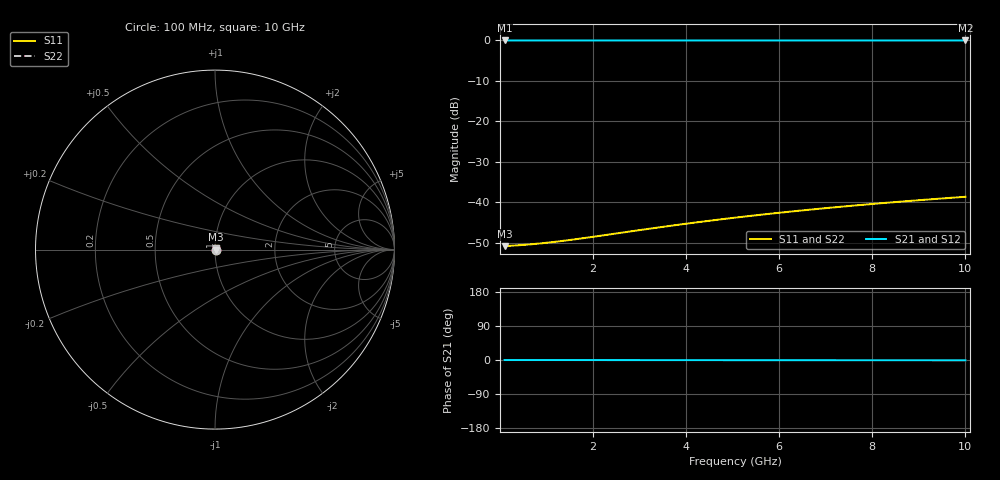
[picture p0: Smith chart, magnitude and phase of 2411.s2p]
# Hz S RI R 50.00
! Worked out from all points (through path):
!   100 points, 100 MHz to 10 GHz, reference 50 ohm
!   highest |S21| = -0.02 dB at 100 MHz (marker M1); lowest = 0.0 dB at 10 GHz (marker M2)
!   lowest |S11| = -50.9 dB at 100 MHz (marker M3), VSWR 1.01, Z = 50.3 + j0.0113 ohm
!   |S11| at or under -10 dB: start of sweep to end of sweep
!   |S22| runs from -50.9 to -38.7 dB; largest |S21 - S12| = 0
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1e8  0.00286 0.000112  0.9971 -0.000147  0.9971 -0.000147  0.00286 0.000112
5e8  0.00291 0.00056  0.9971 -0.000734  0.9971 -0.000734  0.00291 0.00056
7e8  0.00293 0.000784  0.9971 -0.00103  0.9971 -0.00103  0.00293 0.000784
9e8  0.00294 0.00101  0.9971 -0.00132  0.9971 -0.00132  0.00294 0.00101
1.1e9  0.00295 0.00123  0.997 -0.00161  0.997 -0.00161  0.00295 0.00123
1.3e9  0.00296 0.00146  0.997 -0.00191  0.997 -0.00191  0.00296 0.00146
1.5e9  0.00297 0.00168  0.997 -0.0022  0.997 -0.0022  0.00297 0.00168
1.8e9  0.00299 0.00201  0.997 -0.00264  0.997 -0.00264  0.00299 0.00201
3.4e9  0.00304 0.00381  0.997 -0.00499  0.997 -0.00499  0.00304 0.00381
3.9e9  0.00305 0.00437  0.9969 -0.00572  0.9969 -0.00572  0.00305 0.00437
4.3e9  0.00307 0.00481  0.9969 -0.00631  0.9969 -0.00631  0.00307 0.00481
4.7e9  0.00308 0.00526  0.9969 -0.0069  0.9969 -0.0069  0.00308 0.00526
5.1e9  0.00309 0.00571  0.9969 -0.00748  0.9969 -0.00748  0.00309 0.00571
5.5e9  0.0031 0.00616  0.9969 -0.00807  0.9969 -0.00807  0.0031 0.00616
5.9e9  0.00312 0.00661  0.9969 -0.00866  0.9969 -0.00866  0.00312 0.00661
6.3e9  0.00313 0.00705  0.9969 -0.00925  0.9969 -0.00925  0.00313 0.00705
6.7e9  0.00314 0.0075  0.9969 -0.00983  0.9969 -0.00983  0.00314 0.0075
7.5e9  0.00317 0.0084  0.9968 -0.011  0.9968 -0.011  0.00317 0.0084
7.9e9  0.00319 0.00885  0.9968 -0.0116  0.9968 -0.0116  0.00319 0.00885
8.4e9  0.0032 0.00941  0.9968 -0.0123  0.9968 -0.0123  0.0032 0.00941
9.2e9  0.00324 0.0103  0.9968 -0.0135  0.9968 -0.0135  0.00324 0.0103
1e10  0.00327 0.0112  0.9967 -0.0147  0.9967 -0.0147  0.00327 0.0112
